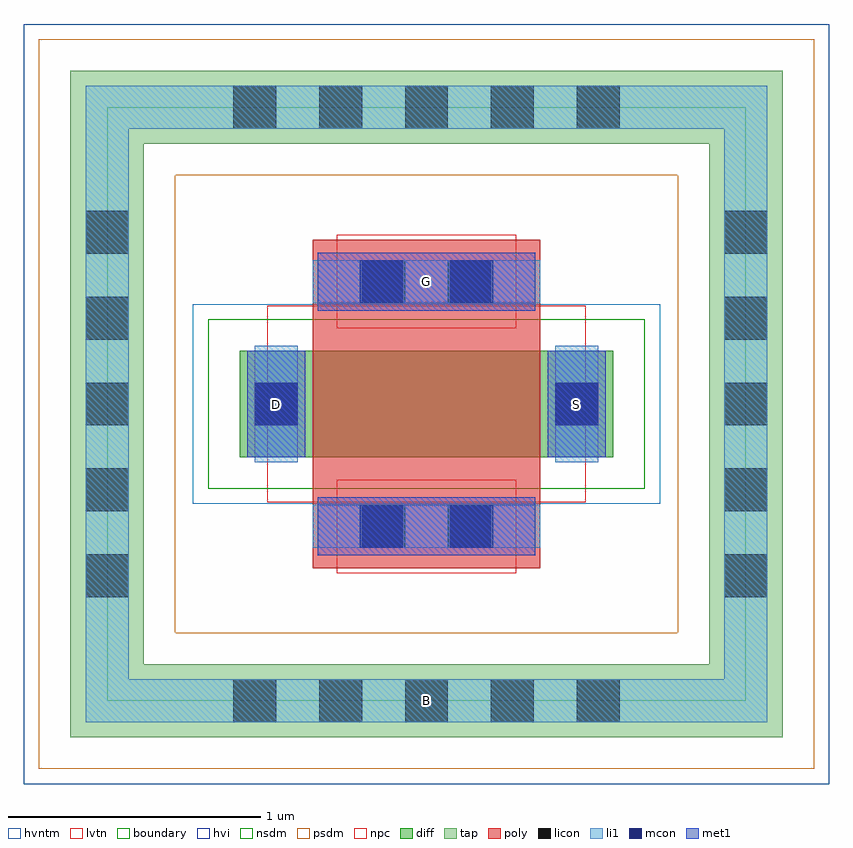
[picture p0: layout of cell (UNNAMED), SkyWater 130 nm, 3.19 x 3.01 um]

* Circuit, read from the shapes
.subckt (UNNAMED) B D G S
XM1 S G D B sky130_fd_pr__nfet_05v0_nvt w=0.42 l=0.9
.ends

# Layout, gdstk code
import gdstk
lib = gdstk.Library(unit=1e-6, precision=1e-09)
def R(c, l, rs):  # rectangles x0, y0, x1, y1
    for r in rs: c.add(gdstk.rectangle(r[:2], r[2:], *l))
def A(c, l, x, y, w, h, nx, ny, dx, dy):  # array of equal rectangles
    R(c, l, [(x+i*dx, y+j*dy, x+i*dx+w, y+j*dy+h) for i in range(nx) for j in range(ny)])
diff = (65, 20)
tap = (65, 44)
poly = (66, 20)
licon = (66, 44)
li1 = (67, 20)
mcon = (67, 44)
met1 = (68, 20)
hvi = (75, 20)
nsdm = (93, 44)
psdm = (94, 20)
npc = (95, 20)
hvntm = (125, 20)
lvtn = (125, 44)
boundary = (235, 4)

c__unnamed_ = lib.new_cell('(UNNAMED)')
R(c__unnamed_, diff, [(-0.74,-0.21,0.74,0.21)])
R(c__unnamed_, tap, [(-1.41,-1.32,1.41,-1.03), (-1.41,-1.03,-1.12,1.03), (1.12,-1.03,1.41,1.03), (-1.41,1.03,1.41,1.32)])
R(c__unnamed_, poly, [(-0.45,-0.65,0.45,0.65)])
A(c__unnamed_, licon, -0.765, -1.26, 0.17, 0.17, 5, 2, 0.34, 2.35)
A(c__unnamed_, licon, -1.35, -0.765, 0.17, 0.17, 1, 5, 0, 0.34)
A(c__unnamed_, licon, 1.18, -0.765, 0.17, 0.17, 1, 5, 0, 0.34)
R(c__unnamed_, licon, [(-0.255,-0.57,-0.085,-0.4), (0.085,-0.57,0.255,-0.4), (-0.68,-0.085,-0.51,0.085), (0.51,-0.085,0.68,0.085), (-0.255,0.4,-0.085,0.57), (0.085,0.4,0.255,0.57)])
R(c__unnamed_, li1, [(-1.35,-1.26,1.35,-1.09), (-1.35,-1.09,-1.18,1.09), (1.18,-1.09,1.35,1.09), (-0.45,-0.57,0.45,-0.4), (-0.68,-0.23,-0.51,0.23), (0.51,-0.23,0.68,0.23), (-0.45,0.4,0.45,0.57), (-1.35,1.09,1.35,1.26)])
R(c__unnamed_, mcon, [(-0.265,-0.57,-0.095,-0.4), (0.095,-0.57,0.265,-0.4), (-0.68,-0.085,-0.51,0.085), (0.51,-0.085,0.68,0.085), (-0.265,0.4,-0.095,0.57), (0.095,0.4,0.265,0.57)])
R(c__unnamed_, met1, [(-0.43,-0.6,0.43,-0.37), (-0.71,-0.21,-0.48,0.21), (0.48,-0.21,0.71,0.21), (-0.43,0.37,0.43,0.6)])
R(c__unnamed_, hvi, [(-1.595,-1.505,1.595,1.505)])
R(c__unnamed_, nsdm, [(-0.865,-0.335,0.865,0.335)])
R(c__unnamed_, psdm, [(-1.535,-1.445,1.535,-0.905), (-1.535,-0.905,-0.995,0.905), (0.995,-0.905,1.535,0.905), (-1.535,0.905,1.535,1.445)])
R(c__unnamed_, npc, [(-0.355,-0.67,0.355,-0.3), (-0.355,0.3,0.355,0.67)])
R(c__unnamed_, hvntm, [(-0.925,-0.395,0.925,0.395)])
R(c__unnamed_, lvtn, [(-0.63,-0.39,0.63,0.39)])
R(c__unnamed_, boundary, [(-1.265,-1.175,1.265,1.175)])
c__unnamed_.add(gdstk.Label('B', (0,-1.175), layer=67, texttype=5))
c__unnamed_.add(gdstk.Label('D', (-0.595,0), layer=67, texttype=5))
c__unnamed_.add(gdstk.Label('S', (0.595,0), layer=67, texttype=5))
c__unnamed_.add(gdstk.Label('G', (0,0.485), layer=67, texttype=5))

lib.write_gds('_UNNAMED_.gds')
